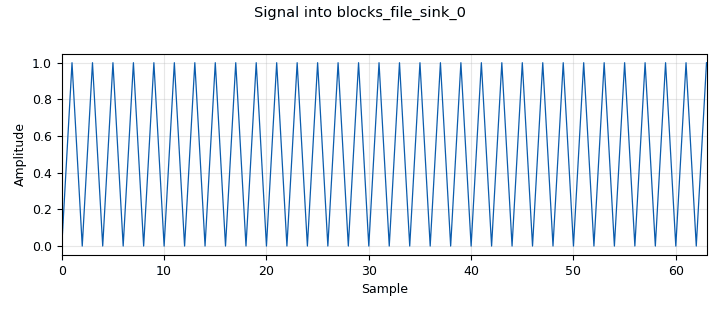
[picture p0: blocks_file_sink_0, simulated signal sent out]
<?xml version='1.0' encoding='utf-8'?>
<flow_graph>
<block>
<key>options</key>
<param><key>id</key><value>top_block</value></param>
<param><key>generate_options</key><value>wx_gui</value></param>
<param><key>category</key><value>Custom</value></param>
</block>
<block>
<key>variable</key>
<param><key>id</key><value>samp_rate</value></param>
<param><key>value</key><value>32000</value></param>
</block>
<block>
<key>blocks_vector_source_x</key>
<param><key>id</key><value>blocks_vector_source_x_0</value></param>
<param><key>type</key><value>byte</value></param>
<param><key>vector</key><value>(1, 0)</value></param>
<param><key>repeat</key><value>True</value></param>
</block>
<block>
<key>blocks_unpacked_to_packed_xx</key>
<param><key>id</key><value>blocks_unpacked_to_packed_xx_0</value></param>
<param><key>type</key><value>byte</value></param>
<param><key>bits_per_chunk</key><value>1</value></param>
<param><key>endianness</key><value>gr.GR_MSB_FIRST</value></param>
</block>
<block>
<key>digital_dxpsk_mod</key>
<param><key>id</key><value>digital_dxpsk_mod_0</value></param>
<param><key>type</key><value>dbpsk</value></param>
<param><key>samples_per_symbol</key><value>2</value></param>
<param><key>excess_bw</key><value>0.35</value></param>
<param><key>mod_code</key><value>"gray"</value></param>
<param><key>verbose</key><value>False</value></param>
<param><key>log</key><value>False</value></param>
</block>
<block>
<key>digital_dxpsk_demod</key>
<param><key>id</key><value>digital_dxpsk_demod_0</value></param>
<param><key>type</key><value>dbpsk</value></param>
<param><key>samples_per_symbol</key><value>2</value></param>
<param><key>excess_bw</key><value>0.35</value></param>
<param><key>freq_bw</key><value>6.28/100.0</value></param>
<param><key>phase_bw</key><value>6.28/100.0</value></param>
<param><key>timing_bw</key><value>6.28/100.0</value></param>
<param><key>mod_code</key><value>"gray"</value></param>
<param><key>verbose</key><value>False</value></param>
<param><key>log</key><value>False</value></param>
<param><key>sync_out</key><value>False</value></param>
</block>
<block>
<key>blocks_file_sink</key>
<param><key>id</key><value>blocks_file_sink_0</value></param>
<param><key>file</key><value>/home/dhruv-shah/git/Randoms/Playing with GNU Radio/dbpsk.txt</value></param>
<param><key>type</key><value>byte</value></param>
</block>
<connection><source_block_id>blocks_vector_source_x_0</source_block_id><sink_block_id>blocks_unpacked_to_packed_xx_0</sink_block_id><source_key>0</source_key><sink_key>0</sink_key></connection>
<connection><source_block_id>digital_dxpsk_mod_0</source_block_id><sink_block_id>digital_dxpsk_demod_0</sink_block_id><source_key>0</source_key><sink_key>0</sink_key></connection>
<connection><source_block_id>blocks_unpacked_to_packed_xx_0</source_block_id><sink_block_id>digital_dxpsk_mod_0</sink_block_id><source_key>0</source_key><sink_key>0</sink_key></connection>
<connection><source_block_id>digital_dxpsk_demod_0</source_block_id><sink_block_id>blocks_file_sink_0</sink_block_id><source_key>0</source_key><sink_key>0</sink_key></connection>
</flow_graph>
